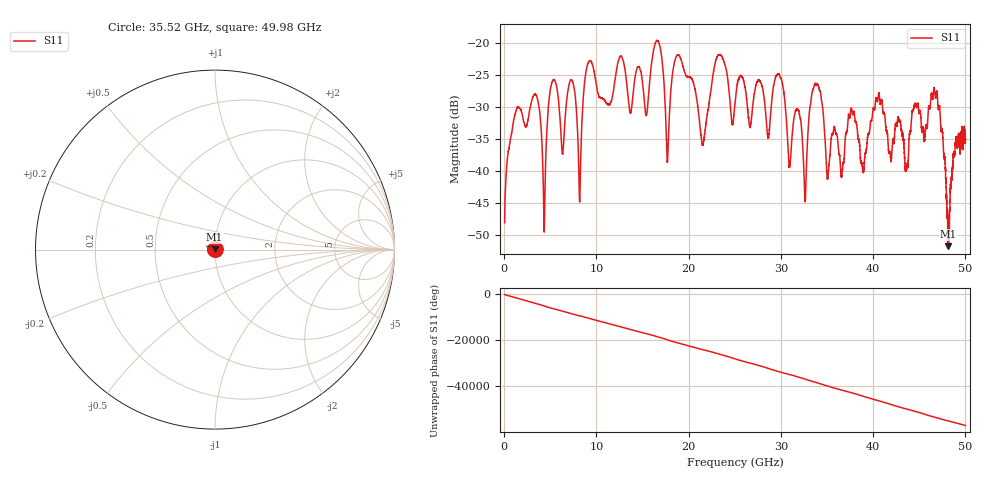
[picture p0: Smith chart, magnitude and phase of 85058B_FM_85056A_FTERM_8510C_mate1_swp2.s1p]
!Created with skrf (http://scikit-rf.org).
# Hz S RI R 50.0
!freq ReS11 ImS11
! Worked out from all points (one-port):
!   10001 points, 45 MHz to 50 GHz, reference 50 ohm
!   lowest |S11| = -51.7 dB at 48.13 GHz (marker M1), VSWR 1.01, Z = 49.8 + j0.152 ohm
!   |S11| at or under -10 dB: start of sweep to end of sweep
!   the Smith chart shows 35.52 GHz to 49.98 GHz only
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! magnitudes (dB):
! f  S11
! 45 MHz  -48.0
! 1.444 GHz  -30.0
! 3.527 GHz  -28.3
! 4.336 GHz  -49.4
! 5.415 GHz  -25.7
! 6.289 GHz  -37.1
! 7.194 GHz  -25.8
! 8.173 GHz  -44.5
! 9.102 GHz  -23.1
! 12.53 GHz  -22.1
! 15.4 GHz  -31.3
! 16.7 GHz  -19.7
! 17.71 GHz  -38.4
! 18.78 GHz  -21.8
! 21.51 GHz  -35.9
! 23.2 GHz  -21.8
! 25.02 GHz  -29.3
! 28.63 GHz  -34.8
! 29.71 GHz  -24.9
! 31.27 GHz  -33.6
! 32.63 GHz  -44.4
! 33.87 GHz  -26.4
! 36.63 GHz  -40.2
! 37.51 GHz  -31.3
! 43.76 GHz  -39.1
! 46.75 GHz  -28.6
! 48.13 GHz  -51.7
! 50 GHz  -35.0
